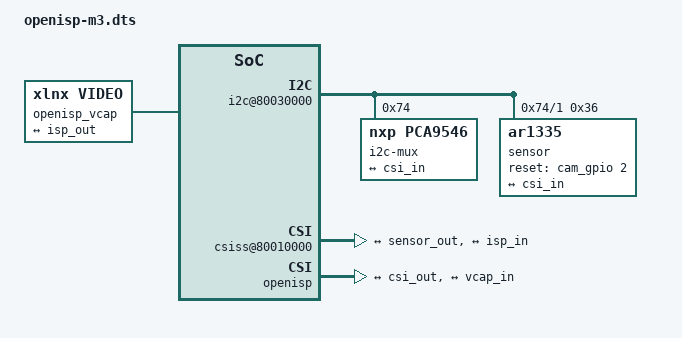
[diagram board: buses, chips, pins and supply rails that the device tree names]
// SPDX-License-Identifier: MIT
/*
 * KV260 M3 overlay: AR1335 on IAS1/J8 through the openISP hardware ISP.
 *
 *   ar1335 -> csiss@80010000 -> openisp@80040000 (YUYV) -> fb_wr@80020000 -> /dev/videoN
 *
 * Build on the board:  dtc -@ -I dts -O dtb -o openisp-m3.dtbo openisp-m3.dts
 */
/dts-v1/;
/plugin/;

&fpga_full {
	#address-cells = <2>;
	#size-cells = <2>;
	firmware-name = "openisp-m3.bit.bin";
	resets = <&zynqmp_reset 116>, <&zynqmp_reset 117>, <&zynqmp_reset 118>, <&zynqmp_reset 119>;
};

&amba {
	#address-cells = <2>;
	#size-cells = <2>;

	afi0 {
		compatible = "xlnx,afi-fpga";
		config-afi = <0 0>, <1 0>, <2 0>, <3 0>, <4 0>, <5 0>, <6 0>, <7 0>,
			     <8 0>, <9 0>, <10 0>, <11 0>, <12 0>, <13 0>, <14 0>, <15 0>;
	};

	/* clk_wiz outputs derived from pl_clk0 (100 MHz) */
	clk_100M: pl0_ref_100M {
		#clock-cells = <0>;
		compatible = "fixed-factor-clock";
		clocks = <&zynqmp_clk 71>;
		clock-div = <1>;
		clock-mult = <1>;
	};
	clk_200M: pl0_ref_200M {
		#clock-cells = <0>;
		compatible = "fixed-factor-clock";
		clocks = <&zynqmp_clk 71>;
		clock-div = <1>;
		clock-mult = <2>;
	};
	/* video domain: CSI-2 RX video side, ISP, frame buffer (VCLK, build.tcl):
	 * 200 MHz = 100 MHz x 2 / 1 (for a VCLK=250 build: mult 5, div 2) */
	clk_video: pl0_ref_video {
		#clock-cells = <0>;
		compatible = "fixed-factor-clock";
		clocks = <&zynqmp_clk 71>;
		clock-div = <1>;
		clock-mult = <2>;
	};

	/* [0] AP1302_RST_B [1] AP1302_STANDBY [2] IAS_XSHUTDOWN_B [3] RPi enable */
	cam_gpio: gpio@80080000 {
		compatible = "xlnx,xps-gpio-1.00.a";
		reg = <0x0 0x80080000 0x0 0x10000>;
		clocks = <&clk_100M>;
		#gpio-cells = <2>;
		gpio-controller;
		xlnx,all-inputs = <0x0>;
		xlnx,all-outputs = <0x1>;
		xlnx,dout-default = <0x0>;
		xlnx,gpio-width = <0x4>;
		xlnx,is-dual = <0x0>;
		xlnx,tri-default = <0xffffffff>;
	};

	i2c@80030000 {
		compatible = "xlnx,axi-iic-2.1", "xlnx,xps-iic-2.00.a";
		reg = <0x0 0x80030000 0x0 0x10000>;
		clocks = <&clk_100M>;
		clock-names = "s_axi_aclk";
		interrupt-parent = <&gic>;
		interrupts = <0 91 4>;
		#address-cells = <1>;
		#size-cells = <0>;

		i2c-mux@74 {
			compatible = "nxp,pca9546";
			reg = <0x74>;
			#address-cells = <1>;
			#size-cells = <0>;

			i2c@1 {
				reg = <1>;
				#address-cells = <1>;
				#size-cells = <0>;

				sensor@36 {
					compatible = "ar1335";
					reg = <0x36>;
					#address-cells = <1>;
					#size-cells = <0>;
					reset-gpios = <&cam_gpio 2 0>;

					port {
						clock-lanes = <0>;
						data-lanes = <1 2 3 4>;
						sensor_out: endpoint {
							remote-endpoint = <&csi_in>;
						};
					};
				};
			};
		};
	};

	csiss@80010000 {
		compatible = "xlnx,mipi-csi2-rx-subsystem-5.0";
		reg = <0x0 0x80010000 0x0 0x10000>;
		clock-names = "lite_aclk", "dphy_clk_200M", "video_aclk";
		clocks = <&clk_100M>, <&clk_200M>, <&clk_video>;
		interrupt-parent = <&gic>;
		interrupts = <0 90 4>;
		xlnx,csi-pxl-format = <0x2b>;		/* RAW10 */
		xlnx,axis-tdata-width = <0x20>;
		xlnx,max-lanes = <4>;
		xlnx,vc = <4>;
		xlnx,ppc = <2>;
		xlnx,vfb;

		ports {
			#address-cells = <1>;
			#size-cells = <0>;

			port@0 {
				reg = <0>;
				xlnx,video-format = <12>;	/* XVIP_VF_MONO_SENSOR */
				xlnx,video-width = <10>;
				xlnx,cfa-pattern = "rggb";
				csi_in: endpoint {
					data-lanes = <1 2 3 4>;
					remote-endpoint = <&sensor_out>;
				};
			};
			port@1 {
				reg = <1>;
				xlnx,video-format = <12>;
				xlnx,video-width = <10>;
				xlnx,cfa-pattern = "rggb";
				csi_out: endpoint {
					remote-endpoint = <&isp_in>;
				};
			};
		};
	};

	openisp: isp@80040000 {
		compatible = "openisp,isp-1.0";
		reg = <0x0 0x80040000 0x0 0x40000>;
		interrupt-parent = <&gic>;
		interrupts = <0 92 4>;			/* pl_ps_irq0[3], level high */
		clocks = <&clk_video>;
		openisp,output-format = "yuyv";

		ports {
			#address-cells = <1>;
			#size-cells = <0>;

			port@0 {
				reg = <0>;
				isp_in: endpoint {
					remote-endpoint = <&csi_out>;
				};
			};
			port@1 {
				reg = <1>;
				isp_out: endpoint {
					remote-endpoint = <&vcap_in>;
				};
			};
		};
	};

	fb_wr: fb_wr@80020000 {
		compatible = "xlnx,axi-frmbuf-wr-v2.1";
		reg = <0x0 0x80020000 0x0 0x10000>;
		#dma-cells = <1>;
		interrupt-parent = <&gic>;
		interrupts = <0 89 4>;
		reset-gpios = <&gpio 78 1>;		/* EMIO 0, active low */
		xlnx,vid-formats = "yuyv";
		xlnx,dma-addr-width = <32>;
		xlnx,pixels-per-clock = <2>;
		xlnx,max-width = <4224>;
		xlnx,max-height = <3136>;
		clocks = <&clk_video>;
		clock-names = "ap_clk";
	};

	openisp_vcap {
		compatible = "xlnx,video";
		dmas = <&fb_wr 0>;
		dma-names = "port0";

		ports {
			#address-cells = <1>;
			#size-cells = <0>;

			port@0 {
				reg = <0>;
				direction = "input";
				vcap_in: endpoint {
					remote-endpoint = <&isp_out>;
				};
			};
		};
	};
};
